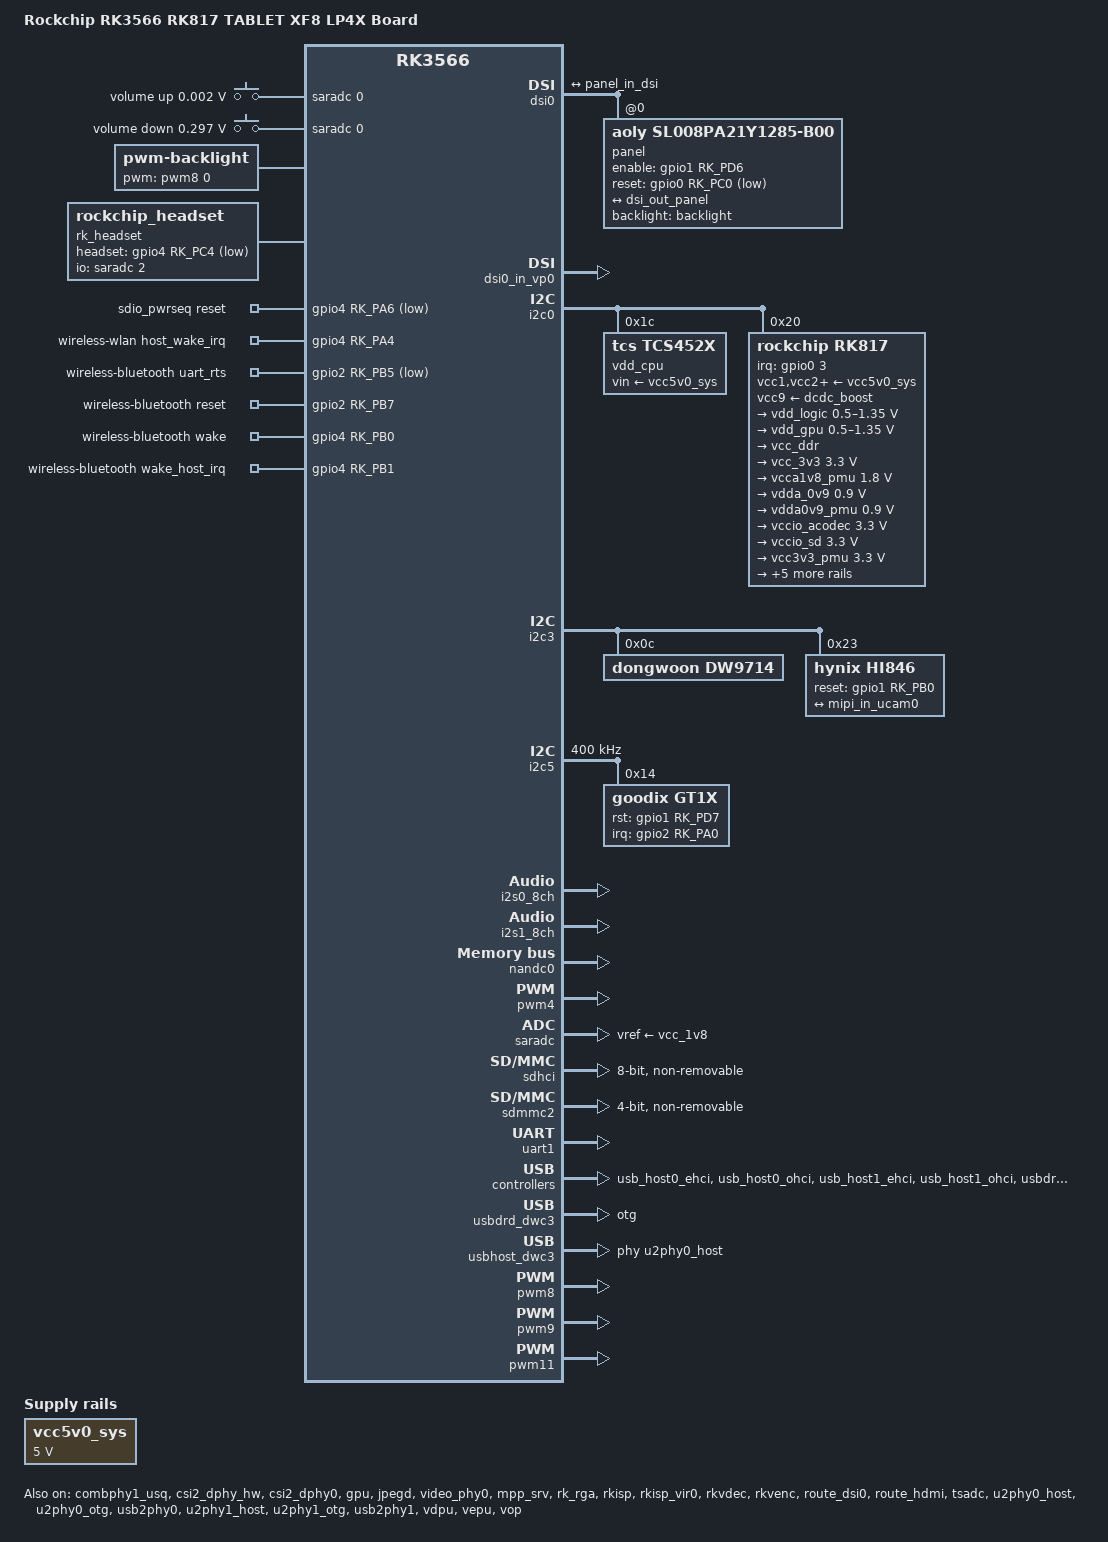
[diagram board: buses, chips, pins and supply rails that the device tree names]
// SPDX-License-Identifier: (GPL-2.0+ OR MIT)
/*
 * Copyright (c) 2020 Rockchip Electronics Co., Ltd.
 *
 */

/dts-v1/;

#include <dt-bindings/gpio/gpio.h>
#include <dt-bindings/pinctrl/rockchip.h>
#include <dt-bindings/input/rk-input.h>
#include <dt-bindings/sensor-dev.h>
#include <dt-bindings/display/drm_mipi_dsi.h>
#include "rk3566.dtsi"
#include "rk3568-android.dtsi"

/ {
	model = "Rockchip RK3566 RK817 TABLET XF8 LP4X Board";
	compatible = "rockchip,rk3566-rk817-tablet-xf8", "rockchip,rk3566";

	adc_keys: adc-keys {
		compatible = "adc-keys";
		io-channels = <&saradc 0>;
		io-channel-names = "buttons";
		keyup-threshold-microvolt = <1800000>;
		poll-interval = <100>;

		vol-up-key {
			label = "volume up";
			linux,code = <KEY_VOLUMEUP>;
			press-threshold-microvolt = <1750>;
		};

		vol-down-key {
			label = "volume down";
			linux,code = <KEY_VOLUMEDOWN>;
			press-threshold-microvolt = <297500>;
		};
	};

	backlight: backlight {
		compatible = "pwm-backlight";
		pwms = <&pwm8 0 25000 0>;
		brightness-levels = <
			  0  20  20  21  21  22  22  23
			 23  24  24  25  25  26  26  27
			 27  28  28  29  29  30  30  31
			 31  32  32  33  33  34  34  35
			 35  36  36  37  37  38  38  39
			 40  41  42  43  44  45  46  47
			 48  49  50  51  52  53  54  55
			 56  57  58  59  60  61  62  63
			 64  65  66  67  68  69  70  71
			 72  73  74  75  76  77  78  79
			 80  81  82  83  84  85  86  87
			 88  89  90  91  92  93  94  95
			 96  97  98  99 100 101 102 103
			104 105 106 107 108 109 110 111
			112 113 114 115 116 117 118 119
			120 121 122 123 124 125 126 127
			128 129 130 131 132 133 134 135
			136 137 138 139 140 141 142 143
			144 145 146 147 148 149 150 151
			152 153 154 155 156 157 158 159
			160 161 162 163 164 165 166 167
			168 169 170 171 172 173 174 175
			176 177 178 179 180 181 182 183
			184 185 186 187 188 189 190 191
			192 193 194 195 196 197 198 199
			200 201 202 203 204 205 206 207
			208 209 210 211 212 213 214 215
			216 217 218 219 220 221 222 223
			224 225 226 227 228 229 230 231
			232 233 234 235 236 237 238 239
			240 241 242 243 244 245 246 247
			248 249 250 251 252 253 254 255
		>;
		default-brightness-level = <200>;
	};

	charge-animation {
		compatible = "rockchip,uboot-charge";
		rockchip,uboot-charge-on = <1>;
		rockchip,android-charge-on = <0>;
		rockchip,uboot-low-power-voltage = <3350>;
		rockchip,screen-on-voltage = <3400>;
		status = "disabled";
	};
        /*
	flash_rgb13h: flash-rgb13h {
		status = "okay";
		compatible = "led,rgb13h";
		label = "gpio-flash";
		pinctrl-names = "default";
		pinctrl-0 = <&flash_led_gpios>;
		led-max-microamp = <20000>;
		flash-max-microamp = <20000>;
		flash-max-timeout-us = <1000000>;
		enable-gpio = <&gpio4 RK_PB7 GPIO_ACTIVE_HIGH>;
		rockchip,camera-module-index = <0>;
		rockchip,camera-module-facing = "back";
	}; 

	hall_sensor: hall-mh248 {
		compatible = "hall-mh248";
		irq-gpio = <&gpio3 RK_PA6 IRQ_TYPE_EDGE_BOTH>;
		hall-active = <1>;
		status = "okay";
	}; */

	hdmi_sound: hdmi-sound {
		compatible = "simple-audio-card";
		simple-audio-card,format = "i2s";
		simple-audio-card,mclk-fs = <128>;
		simple-audio-card,name = "rockchip,hdmi";
		status = "okay";

		simple-audio-card,cpu {
				sound-dai = <&i2s0_8ch>;
		};
		simple-audio-card,codec {
				sound-dai = <&hdmi>;
		};
	};

	vcc5v0_sys: vcc5v0-sys {
		compatible = "regulator-fixed";
		regulator-name = "vcc5v0_sys";
		regulator-always-on;
		regulator-boot-on;
		regulator-min-microvolt = <5000000>;
		regulator-max-microvolt = <5000000>;
	};
       /*
	vcc_camera: vcc-camera-regulator {
		compatible = "regulator-fixed";
		gpio = <&gpio4 RK_PB1 GPIO_ACTIVE_HIGH>;
		pinctrl-names = "default";
		pinctrl-0 = <&camera_rst>;
		regulator-name = "vcc_camera";
		enable-active-high;
		regulator-always-on;
		regulator-boot-on;
	};    */

	rk817-sound {
		compatible = "simple-audio-card";
		simple-audio-card,format = "i2s";
		simple-audio-card,name = "rockchip,rk817-codec";
		simple-audio-card,mclk-fs = <256>;

		simple-audio-card,cpu {
			sound-dai = <&i2s1_8ch>;
		};
		simple-audio-card,codec {
			sound-dai = <&rk817_codec>;
		};
	};

	rk_headset: rk-headset {
		compatible = "rockchip_headset";
		headset_gpio = <&gpio4 RK_PC4 GPIO_ACTIVE_LOW>;
		pinctrl-names = "default";
		pinctrl-0 = <&hp_det>;
		io-channels = <&saradc 2>;
	};

	sdio_pwrseq: sdio-pwrseq {
		compatible = "mmc-pwrseq-simple";
		clocks = <&rk817 1>;
		clock-names = "ext_clock";
		pinctrl-names = "default";
		pinctrl-0 = <&wifi_enable_h>;

		/*
		 * On the module itself this is one of these (depending
		 * on the actual card populated):
		 * - SDIO_RESET_L_WL_REG_ON
		 * - PDN (power down when low)
		 */
		post-power-on-delay-ms = <200>;
		reset-gpios = <&gpio4 RK_PA6 GPIO_ACTIVE_LOW>;
	};

    /*
	vcc5v0_host: vcc5v0-host-regulator {
		compatible = "regulator-fixed";
		enable-active-high;
		gpio = <&gpio3 RK_PA3 GPIO_ACTIVE_HIGH>;
		pinctrl-names = "default";
		pinctrl-0 = <&vcc5v0_host_en>;
		regulator-name = "vcc5v0_host";
		regulator-always-on;
	};  */

	wireless-wlan {
		compatible = "wlan-platdata";
		rockchip,grf = <&grf>;
		wifi_chip_type = "rtl8821cs";
		pinctrl-names = "default";
		pinctrl-0 = <&wifi_host_wake_irq>;
		//WIFI,host_wake_irq = <&gpio0 RK_PC4 GPIO_ACTIVE_HIGH>;
		WIFI,host_wake_irq = <&gpio4 RK_PA4 GPIO_ACTIVE_HIGH>; //WL_WAKE_HOST
		status = "okay";
	};

	wireless-bluetooth {
		compatible = "bluetooth-platdata";
		clocks = <&rk817 1>;
		clock-names = "ext_clock";
		//wifi-bt-power-toggle;
		uart_rts_gpios = <&gpio2 RK_PB5 GPIO_ACTIVE_LOW>;
		pinctrl-names = "default", "rts_gpio";
		pinctrl-0 = <&uart1m0_rtsn>;
		pinctrl-1 = <&uart1_gpios>;
		BT,reset_gpio    = <&gpio2 RK_PB7 GPIO_ACTIVE_HIGH>; //BT_REG_ON_H
		BT,wake_gpio     = <&gpio4 RK_PB0 GPIO_ACTIVE_HIGH>; //BT_WAKE_HOST_H
		BT,wake_host_irq = <&gpio4 RK_PB1 GPIO_ACTIVE_HIGH>; //HOST_WAKE_BT_H
		status = "okay";
	};
};

&combphy1_usq {
	rockchip,dis-u3otg1-port;
	status = "okay";
};

&cpu0 {
	cpu-supply = <&vdd_cpu>;
};

&csi2_dphy_hw {
	status = "okay";
};

&csi2_dphy0 {
	status = "okay";

	ports {
		#address-cells = <1>;
		#size-cells = <0>;
		port@0 {
			reg = <0>;
			#address-cells = <1>;
			#size-cells = <0>;

			mipi_in_ucam0: endpoint@0 {
				reg = <0>;
				remote-endpoint = <&hi846_out>;
				data-lanes = <1 2 3 4>;
			};
		};
		port@1 {
			reg = <1>;
			#address-cells = <1>;
			#size-cells = <0>;

			csidphy0_out: endpoint@0 {
				reg = <0>;
				remote-endpoint = <&isp0_in>;
			};
		};
	};
};

&dsi0 {
	status = "okay";
	rockchip,lane-rate = <1000>;
	panel@0 {
		compatible = "aoly,sl008pa21y1285-b00", "simple-panel-dsi";
		reg = <0>;

		backlight = <&backlight>;
		//power-supply=<&vcc_3v3>;
		enable-gpios = <&gpio1 RK_PD6 GPIO_ACTIVE_HIGH>;
		//stbyb-gpios = <&gpio0 RK_PC0 GPIO_ACTIVE_HIGH>;
		reset-gpios = <&gpio0 RK_PC0 GPIO_ACTIVE_LOW>;

		pinctrl-names = "default";
		pinctrl-0 = <&lcd_enable_gpio>, <&lcd_rst_gpio>; // <&lcd_stanby_gpio>

		prepare-delay-ms = <120>;
		reset-delay-ms = <120>;
		init-delay-ms = <120>;
		stbyb-delay-ms = <120>;
		enable-delay-ms = <120>;
		disable-delay-ms = <120>;
		unprepare-delay-ms = <120>;

		width-mm = <229>;
		height-mm = <143>;

		dsi,flags = <(MIPI_DSI_MODE_VIDEO | MIPI_DSI_MODE_VIDEO_BURST |
			      MIPI_DSI_MODE_LPM | MIPI_DSI_MODE_EOT_PACKET)>;
		dsi,format = <MIPI_DSI_FMT_RGB888>;
		dsi,lanes = <4>;

		panel-init-sequence = [
			39 00 04 B9 F1 12 87
			39 00 04 B2 68 13 78
			39 00 0B B3 10 10 28 28 03 FF 00 00 00 00
			39 00 02 B4 80
			39 00 03 B5 08 08
			39 00 03 B6 7D 7D
			39 00 02 B8 75
			39 00 1C BA 33 81 05 F9 0E 0E 20 00 00 00 00 00 00 00 44 25 00 91 0A 00 00 01 4F 01 00 00 37
			39 00 02 BC 47
			39 00 04 BF 02 11 00
			39 00 0A C0 73 73 50 50 00 00 12 73 00
			39 00 12 C1 25 00 32 32 77 E1 77 77 CC CC FF FF 11 11 00 00 32
			39 00 0D C7 B0 00 0A 00 00 00 00 80 EC 47 00 5A
			39 00 05 C8 01 00 1E 43
			39 00 02 CC 0B
			39 00 03 D1 01 10
			39 00 23 E0 00 0A 0D 26 36 3F 42 35 08 0B 0C 13 14 13 14 11 18 00 0A 0D 26 36 3F 42 35 08 0B 0C 13 14 13 14 11 18
			39 00 08 E1 11 11 91 00 00 00 00
			39 00 0F E3 03 03 03 03 00 03 00 00 00 00 FF 84 C0 10
			39 00 40 E9 C8 10 08 00 00 A0 51 12 31 23 47 86 A0 51 47 08 00 00 60 00 00 00 00 00 60 00 00 00 88 88 80 2F 88 88 88 88 8F 46 02 88 88 81 3F 88 88 88 88 8F 57 13 00 00 00 00 00 00 00 00 00 00 00 00 00
			39 00 3E EA 00 1A 00 00 00 00 02 00 00 00 00 00 8F 88 83 18 88 88 88 88 8F 31 75 8F 88 82 08 88 88 88 88 8F 20 64 23 10 00 00 A8 00 00 00 00 00 00 00 00 00 00 00 00 00 00 00 00 00 00 00 00 00 00
			
			05 78 01 11
			05 32 01 29
		];

		panel-exit-sequence = [
			05 dc 01 28
			05 78 01 10
		];

		display-timings {
			native-mode = <&timing0>;

			timing0: timing0 {
				clock-frequency = <75000000>;
				hactive = <720>;
				vactive = <1440>;

				hsync-len = <20>;//19
				hback-porch = <55>;//40
				hfront-porch = <50>;//123

				vsync-len = <6>;
				vback-porch = <14>;
				vfront-porch = <17>;

				hsync-active = <0>;
				vsync-active = <0>;
				de-active = <0>;
				pixelclk-active = <0>;
			};
		};

		ports {
			#address-cells = <1>;
			#size-cells = <0>;

			port@0 {
				reg = <0>;
				panel_in_dsi: endpoint {
					remote-endpoint = <&dsi_out_panel>;
				};
			};
		};
	};

	ports {
		#address-cells = <1>;
		#size-cells = <0>;

		port@1 {
			reg = <1>;
			dsi_out_panel: endpoint {
				remote-endpoint = <&panel_in_dsi>;
			};
		};
	};

};

&dsi0_in_vp0 {
	status = "okay";
};

&dsi0_in_vp1 {
	status = "disabled";
};

&gpu {
	mali-supply = <&vdd_gpu>;
	status = "okay";
};

&hdmi {
	status = "disabled";
};

&hdmi_in_vp0 {
	status = "disabled";
};

&hdmi_in_vp1 {
	status = "disabled";
};

&hdmi_sound {
	status = "disabled";
};

&i2c0 {
	status = "okay";

	vdd_cpu: tcs4525@1c {
		compatible = "tcs,tcs452x";
		reg = <0x1c>;
		vin-supply = <&vcc5v0_sys>;
		regulator-compatible = "fan53555-reg";
		regulator-name = "vdd_cpu";
		regulator-min-microvolt = <712500>;
		regulator-max-microvolt = <1390000>;
		regulator-init-microvolt = <900000>;
		regulator-ramp-delay = <2300>;
		fcs,suspend-voltage-selector = <1>;
		regulator-boot-on;
		regulator-always-on;
		regulator-state-mem {
			regulator-off-in-suspend;
		};
	};

	rk817: pmic@20 {
		compatible = "rockchip,rk817";
		reg = <0x20>;
		interrupt-parent = <&gpio0>;
		interrupts = <3 IRQ_TYPE_LEVEL_LOW>;

		//pinctrl-names = "default", "pmic-sleep",
		//		"pmic-power-off", "pmic-reset";
		
		pinctrl-names = "default";
		
		

		pinctrl-0 = <&pmic_int>;
		//pinctrl-1 = <&soc_slppin_slp>, <&rk817_slppin_slp>;
		//pinctrl-2 = <&soc_slppin_gpio>, <&rk817_slppin_pwrdn>;
		//pinctrl-3 = <&soc_slppin_gpio>, <&rk817_slppin_rst>;
		rockchip,system-power-controller;
		wakeup-source;
		#clock-cells = <1>;
		clock-output-names = "rk808-clkout1", "rk808-clkout2";
		//fb-inner-reg-idxs = <2>;
		/* 1: rst regs (default in codes), 0: rst the pmic */
		pmic-reset-func = <0>;

		vcc1-supply = <&vcc5v0_sys>;
		vcc2-supply = <&vcc5v0_sys>;
		vcc3-supply = <&vcc5v0_sys>;
		vcc4-supply = <&vcc5v0_sys>;
		vcc5-supply = <&vcc5v0_sys>;
		vcc6-supply = <&vcc5v0_sys>;
		vcc7-supply = <&vcc5v0_sys>;
		vcc8-supply = <&vcc5v0_sys>;
		vcc9-supply = <&dcdc_boost>;

		pwrkey {
			status = "okay";
		};

		pinctrl_rk8xx: pinctrl_rk8xx {
			gpio-controller;
			#gpio-cells = <2>;

			rk817_slppin_null: rk817_slppin_null {
				pins = "gpio_slp";
				function = "pin_fun0";
			};

			rk817_slppin_slp: rk817_slppin_slp {
				pins = "gpio_slp";
				function = "pin_fun1";
			};

			rk817_slppin_pwrdn: rk817_slppin_pwrdn {
				pins = "gpio_slp";
				function = "pin_fun2";
			};

			rk817_slppin_rst: rk817_slppin_rst {
				pins = "gpio_slp";
				function = "pin_fun3";
			};
		};

		regulators {
			vdd_logic: DCDC_REG1 {
				regulator-always-on;
				regulator-boot-on;
				regulator-min-microvolt = <500000>;
				regulator-max-microvolt = <1350000>;
				regulator-init-microvolt = <900000>;
				regulator-ramp-delay = <6001>;
				regulator-initial-mode = <0x2>;
				regulator-name = "vdd_logic";
				regulator-state-mem {
					regulator-off-in-suspend;
					regulator-suspend-microvolt = <900000>;
				};
			};

			vdd_gpu: DCDC_REG2 {
				regulator-always-on;
				regulator-boot-on;
				regulator-min-microvolt = <500000>;
				regulator-max-microvolt = <1350000>;
				regulator-init-microvolt = <900000>;
				regulator-ramp-delay = <6001>;
				regulator-initial-mode = <0x2>;
				regulator-name = "vdd_gpu";
				regulator-state-mem {
					regulator-off-in-suspend;
				};
			};

			vcc_ddr: DCDC_REG3 {
				regulator-always-on;
				regulator-boot-on;
				regulator-initial-mode = <0x2>;
				regulator-name = "vcc_ddr";
				regulator-state-mem {
					regulator-on-in-suspend;
				};
			};

			vcc_3v3: DCDC_REG4 {
				regulator-always-on;
				regulator-boot-on;
				regulator-min-microvolt = <3300000>;
				regulator-max-microvolt = <3300000>;
				regulator-initial-mode = <0x2>;
				regulator-name = "vcc_3v3";
				regulator-state-mem {
					regulator-off-in-suspend;
				};
			};

			vcca1v8_pmu: LDO_REG1 {
				regulator-always-on;
				regulator-boot-on;
				regulator-min-microvolt = <1800000>;
				regulator-max-microvolt = <1800000>;
				regulator-name = "vcca1v8_pmu";
				regulator-state-mem {
					regulator-on-in-suspend;
					regulator-suspend-microvolt = <1800000>;
				};
			};

			vdda_0v9: LDO_REG2 {
				regulator-always-on;
				regulator-boot-on;
				regulator-min-microvolt = <900000>;
				regulator-max-microvolt = <900000>;
				regulator-name = "vdda_0v9";
				regulator-state-mem {
					regulator-off-in-suspend;
				};
			};

			vdda0v9_pmu: LDO_REG3 {
				regulator-always-on;
				regulator-boot-on;
				regulator-min-microvolt = <900000>;
				regulator-max-microvolt = <900000>;
				regulator-name = "vdda0v9_pmu";
				regulator-state-mem {
					regulator-on-in-suspend;
					regulator-suspend-microvolt = <900000>;
				};
			};

			vccio_acodec: LDO_REG4 {
				regulator-always-on;
				regulator-boot-on;
				regulator-min-microvolt = <3300000>;
				regulator-max-microvolt = <3300000>;
				regulator-name = "vccio_acodec";
				regulator-state-mem {
					regulator-off-in-suspend;
				};
			};

			vccio_sd: LDO_REG5 {
				regulator-always-on;
				regulator-boot-on;
				regulator-min-microvolt = <3300000>;
				regulator-max-microvolt = <3300000>;
				regulator-name = "vccio_sd";
				regulator-state-mem {
					regulator-off-in-suspend;
				};
			};

			vcc3v3_pmu: LDO_REG6 {
				regulator-always-on;
				regulator-boot-on;
				regulator-min-microvolt = <3300000>;
				regulator-max-microvolt = <3300000>;
				regulator-name = "vcc3v3_pmu";
				regulator-state-mem {
					regulator-on-in-suspend;
					regulator-suspend-microvolt = <3300000>;
				};
			};

			vcc_1v8: LDO_REG7 {
				regulator-always-on;
				regulator-boot-on;
				regulator-min-microvolt = <1800000>;
				regulator-max-microvolt = <1800000>;
				regulator-name = "vcc_1v8";
				regulator-state-mem {
					regulator-off-in-suspend;
				};
			};

			vcc1v8_dvp: LDO_REG8 {
				regulator-always-on;
				regulator-boot-on;
				regulator-min-microvolt = <1800000>;
				regulator-max-microvolt = <1800000>;
				regulator-name = "vcc1v8_dvp";
				regulator-state-mem {
					regulator-off-in-suspend;
				};
			};

			vcc2v8_dvp: LDO_REG9 {
				regulator-always-on;
				regulator-boot-on;
				regulator-min-microvolt = <2800000>;
				regulator-max-microvolt = <2800000>;
				regulator-name = "vcc2v8_dvp";
				regulator-state-mem {
					regulator-off-in-suspend;
				};
			};

			dcdc_boost: BOOST {
				regulator-always-on;
				regulator-boot-on;
				regulator-min-microvolt = <4700000>;
				regulator-max-microvolt = <5400000>;
				regulator-name = "boost";
				regulator-state-mem {
					regulator-off-in-suspend;
				};
			};

			otg_switch: OTG_SWITCH {
				regulator-name = "otg_switch";
				regulator-state-mem {
					regulator-off-in-suspend;
				};
			};
		};

		battery {
			compatible = "rk817,battery";
			ocv_table = <3400 3513 3578 3687 3734 3752 3763
				     3766 3771 3784 3804 3836 3885 3925
				     3962 4005 4063 4114 4169 4227 4303>;
			design_capacity = <5000>;
			design_qmax = <5500>;
			bat_res = <100>;
			sleep_enter_current = <150>;
			sleep_exit_current = <180>;
			sleep_filter_current = <100>;
			power_off_thresd = <3450>;
			zero_algorithm_vol = <3850>;
			max_soc_offset = <60>;
			monitor_sec = <5>;
			sample_res = <10>;
			virtual_power = <0>;
                        status = "disabled";
		};

		charger {
			compatible = "rk817,charger";
			min_input_voltage = <4500>;
			max_input_current = <1500>;
			max_chrg_current = <2000>;
			max_chrg_voltage = <4300>;
			chrg_term_mode = <0>;
			chrg_finish_cur = <300>;
			virtual_power = <0>;
			dc_det_adc = <0>;
			extcon = <&usb2phy0>;
                        status = "disabled";
		};

		rk817_codec: codec {
			#sound-dai-cells = <0>;
			compatible = "rockchip,rk817-codec";
			clocks = <&cru I2S1_MCLKOUT>;
			clock-names = "mclk";
			assigned-clocks = <&cru I2S1_MCLKOUT>, <&cru I2S1_MCLK_TX_IOE>;
			assigned-clock-rates = <12288000>;
			assigned-clock-parents = <&cru I2S1_MCLKOUT_TX>, <&cru I2S1_MCLKOUT_TX>;
			pinctrl-names = "default";
			pinctrl-0 = <&i2s1m0_mclk>;
			hp-volume = <20>;
			spk-volume = <0x6f>;
			out-l2spk-r2hp;
			spk-ctl-gpios = <&gpio0 RK_PA4 GPIO_ACTIVE_HIGH>;
			status = "okay";
		};
	};
};

&i2c3 {
	status = "okay";
	pinctrl-0 = <&i2c3m0_xfer>;

	dw9714: dw9714@c {
		compatible = "dongwoon,dw9714";
		status = "okay";
		reg = <0x0c>;
		rockchip,camera-module-index = <0>;
		rockchip,vcm-start-current = <10>;
		rockchip,vcm-rated-current = <85>;
		rockchip,vcm-step-mode = <5>;
		rockchip,camera-module-facing = "back";
	};

	hi846: hi846@23 {
		status = "okay";
		compatible = "hynix,hi846";
		reg = <0x23>; 
		clocks = <&cru CLK_CAM0_OUT>; 
		clock-names = "xvclk"; 
		power-domains = <&power RK3568_PD_VI>;
		pinctrl-names = "rockchip,camera_default", "rockchip,camera_sleep";
		pinctrl-0 = <&cam_clkout0>;
		pinctrl-1 = <&cam_sleep>;
		reset-gpios = <&gpio1 RK_PB0 GPIO_ACTIVE_HIGH>;  //CAMERAB_RST_L
		//pwdn-gpios = <&gpio3  RK_PD0  GPIO_ACTIVE_HIGH>; //CAMERAB_PDN_L 
		rockchip,camera-module-index = <0>;
		rockchip,camera-module-facing = "back";
		rockchip,camera-module-name = "KYT-8648-V1";
		rockchip,camera-module-lens-name = "SKYSI";
		lens-focus = <&dw9714>;
		port {
			hi846_out: endpoint {
				remote-endpoint = <&mipi_in_ucam0>;
				data-lanes = <1 2 3 4>;
			};
		};
	};
};


&i2c5 {
	status = "okay";
	pinctrl-names = "default";
	pinctrl-0 = <&i2c5m1_xfer>;
	clock-frequency = <400000>;
	i2c-scl-rising-time-ns = <138>;
	i2c-scl-falling-time-ns = <4>;

	gt1x: gt1x@14 {
		status = "okay";
		compatible = "goodix,gt1x";
		reg = <0x14>;
		pinctrl-names = "default";
		pinctrl-0 = <&touch_gpio>;
		goodix,rst-gpio = <&gpio1 RK_PD7 GPIO_ACTIVE_HIGH>;
		goodix,irq-gpio = <&gpio2 RK_PA0 IRQ_TYPE_LEVEL_LOW>;
	};

};


&i2s0_8ch {
	status = "okay";
};

&i2s1_8ch {
	status = "okay";
	rockchip,clk-trcm = <1>;
	pinctrl-names = "default";
	pinctrl-0 = <&i2s1m0_sclktx
		     &i2s1m0_lrcktx
		     &i2s1m0_sdi0
		     &i2s1m0_sdo0>;
};

&jpegd {
	status = "okay";
};

&jpegd_mmu {
	status = "okay";
};

&video_phy0 {
	status = "okay";
};

&mpp_srv {
	status = "okay";
};

&nandc0 {
	status = "okay";
};


&pmu_io_domains {
	status = "okay";
	pmuio1-supply = <&vcc3v3_pmu>;
	pmuio2-supply = <&vcca1v8_pmu>;
	vccio1-supply = <&vccio_acodec>;
	vccio3-supply = <&vccio_sd>;
	vccio4-supply = <&vcc_3v3>;
	vccio5-supply = <&vcc_3v3>;
	vccio6-supply = <&vcc_3v3>;
	vccio7-supply = <&vcc_3v3>;
};

&pwm4 {
	status = "okay";
};

&rk_rga {
	status = "okay";
};

&rkisp {
	status = "okay";
};

&rkisp_mmu {
	status = "okay";
};

&rkisp_vir0 {
	status = "okay";

	port {
		#address-cells = <1>;
		#size-cells = <0>;

		isp0_in: endpoint@0 {
			reg = <0>;
			remote-endpoint = <&csidphy0_out>;
		};
	};
};

&rkvdec {
	status = "okay";
};

&rkvdec_mmu {
	status = "okay";
};

&rkvenc {
	status = "okay";
};

&rkvenc_mmu {
	status = "okay";
};

&route_dsi0 {
	status = "okay";
};

&route_hdmi {
	status = "okay";
	connect = <&vp0_out_hdmi>;
};

&saradc {
	status = "okay";
	vref-supply = <&vcc_1v8>;
};

&sdhci {
	bus-width = <8>;
	supports-emmc;
	non-removable;
	max-frequency = <200000000>;
	status = "okay";
};


&sdmmc1 {
	max-frequency = <150000000>;
	supports-sdio;
	bus-width = <4>;
	disable-wp;
	cap-sd-highspeed;
	cap-sdio-irq;
	keep-power-in-suspend;
	mmc-pwrseq = <&sdio_pwrseq>;
	non-removable;
	pinctrl-names = "default";
	pinctrl-0 = <&sdmmc1_bus4 &sdmmc1_cmd &sdmmc1_clk>;
	sd-uhs-sdr104;
	rockchip,default-sample-phase = <90>;
	status = "disabled";
};

&sdmmc2 {
	max-frequency = <100000000>;//150000000
	supports-sdio;
	bus-width = <4>;
	disable-wp;
	cap-sd-highspeed;
	cap-sdio-irq;
	keep-power-in-suspend;
	mmc-pwrseq = <&sdio_pwrseq>;
	non-removable;
	pinctrl-names = "default";
	pinctrl-0 = <&sdmmc2m0_bus4 &sdmmc2m0_cmd &sdmmc2m0_clk>;
	sd-uhs-sdr104;
	rockchip,default-sample-phase = <90>;
	status = "okay";
};


&tsadc {
	status = "okay";
};

&uart1 {
	status = "okay";
	pinctrl-names = "default";
	pinctrl-0 = <&uart1m0_xfer &uart1m0_ctsn>;
};

&u2phy0_host {
//	phy-supply = <&vcc5v0_host>;
	status = "okay";
};

&u2phy0_otg {
	status = "okay";
};

&usb2phy0 {
	status = "okay";
};

&u2phy1_host {
	status = "okay";
};

&u2phy1_otg {
	status = "okay";
};

&usb2phy1 {
	status = "okay";
};

&usb_host0_ehci {
	status = "okay";
};

&usb_host0_ohci {
	status = "okay";
};

&usb_host1_ehci {
	status = "okay";
};

&usb_host1_ohci {
	status = "okay";
};
&usbdrd_dwc3 {
	dr_mode = "otg";
	status = "okay";
};

&usbdrd30 {
	status = "okay";
};

&usbhost30 {
	status = "okay";
};

&usbhost_dwc3 {
	phys = <&u2phy0_host>;
	phy-names = "usb2-phy";
	maximum-speed = "high-speed";
	status = "okay";
};

&vdpu {
	status = "okay";
};

&vdpu_mmu {
	status = "okay";
};

&vepu {
	status = "okay";
};

&vepu_mmu {
	status = "okay";
};

&vop {
	status = "okay";
};

&vop_mmu {
	status = "okay";
};

&pwm8 {
	status = "okay";
	pinctrl-0 = <&pwm8m1_pins>;
};


&pwm9 {
	status = "okay";
};

&pwm11 {
	status = "okay";
};


&pinctrl {
	cam {
		cam_clkout0: cam-clkout0 {
			rockchip,pins =
				/* cam_clkout0 */
				<4 RK_PA7 1 &pcfg_pull_none>;
		};

		cam_sleep: cam-sleep {
			rockchip,pins =
				/* cam_sleep */
				<1 RK_PB0 RK_FUNC_GPIO &pcfg_pull_none>;
		};

		camera_rst: camera-rst {
			rockchip,pins =
				/* front camera reset */
				<4 RK_PB0 RK_FUNC_GPIO &pcfg_pull_none>,
				/* back camra reset */
				<4 RK_PB1 RK_FUNC_GPIO &pcfg_pull_none>;
		};
	};

	tp {
		tp_gpio: tp-gpio {
			rockchip,pins = <3 RK_PB0 RK_FUNC_GPIO &pcfg_pull_up>,
					<3 RK_PB1 RK_FUNC_GPIO &pcfg_pull_none>;
		};
	};

	headphone {
		hp_det: hp-det {
			rockchip,pins = <4 RK_PC4 RK_FUNC_GPIO &pcfg_pull_down>;
		};
	};

	lcd {
		lcd_rst_gpio: lcd-rst-gpio {
			rockchip,pins = <0 RK_PC0 RK_FUNC_GPIO &pcfg_pull_none>;
		};

		lcd_enable_gpio: lcd-enable-gpio {
			rockchip,pins = <1 RK_PD6 RK_FUNC_GPIO &pcfg_pull_none>;
		};
	};

	pmic {
		pmic_int: pmic_int {
			rockchip,pins =
				<0 RK_PA3 RK_FUNC_GPIO &pcfg_pull_up>;
		};

		soc_slppin_gpio: soc_slppin_gpio {
			rockchip,pins =
				<0 RK_PA2 RK_FUNC_GPIO &pcfg_output_low_pull_down>;
		};

		soc_slppin_slp: soc_slppin_slp {
			rockchip,pins =
				<0 RK_PA2 1 &pcfg_pull_up>;
		};

		soc_slppin_rst: soc_slppin_rst {
			rockchip,pins =
				<0 RK_PA2 2 &pcfg_pull_none>;
		};
	};

	sdio-pwrseq {
		wifi_enable_h: wifi-enable-h {
			rockchip,pins = <4 RK_PA6 RK_FUNC_GPIO &pcfg_pull_none>;
		};
	};

	wireless-wlan {
		wifi_host_wake_irq: wifi-host-wake-irq {
			rockchip,pins = <4 RK_PA4 RK_FUNC_GPIO &pcfg_pull_down>;
		};
	};

	wireless-bluetooth {
		uart1_gpios: uart1-gpios {
			rockchip,pins = <2 RK_PB5 RK_FUNC_GPIO &pcfg_pull_none>;
		};
	};
	
	touch {
		touch_gpio: touch-gpio {
			rockchip,pins =
				<1 RK_PD7 RK_FUNC_GPIO &pcfg_pull_up>,
				<2 RK_PA0 RK_FUNC_GPIO &pcfg_pull_none>;
		};
	};
};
